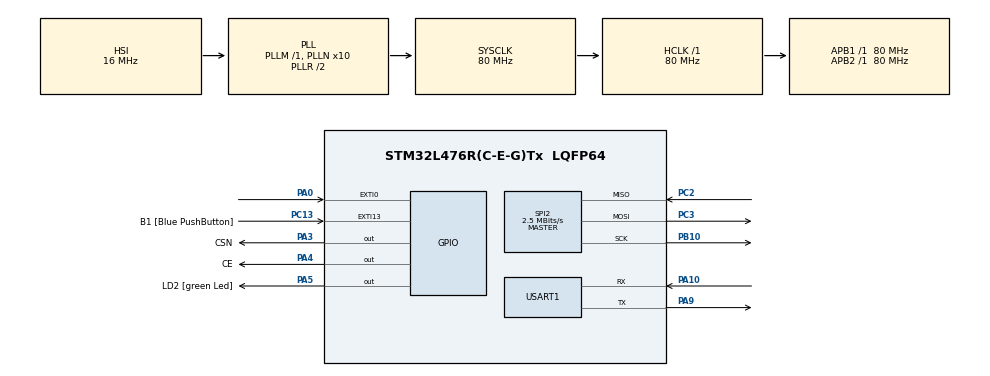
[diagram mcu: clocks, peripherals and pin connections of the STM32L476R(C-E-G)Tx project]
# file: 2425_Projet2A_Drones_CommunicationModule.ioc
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Mcu.Family=STM32L4
Mcu.Name=STM32L476R(C-E-G)Tx
Mcu.Package=LQFP64
NVIC.EXTI0_IRQn=true\:0\:0\:false\:false\:true\:true\:true\:true
NVIC.PriorityGroup=NVIC_PRIORITYGROUP_4
NVIC.SPI2_IRQn=true\:0\:0\:false\:false\:true\:true\:true\:true
NVIC.USART1_IRQn=true\:0\:0\:false\:false\:true\:true\:true\:true
PA0.GPIO_ModeDefaultEXTI=GPIO_MODE_IT_FALLING
PA0.Signal=GPXTI0
PA10.Mode=Asynchronous
PA10.Signal=USART1_RX
PA13\ (JTMS-SWDIO).GPIO_Label=TMS
PA13\ (JTMS-SWDIO).Mode=Serial_Wire
PA13\ (JTMS-SWDIO).Signal=SYS_JTMS-SWDIO
PA14\ (JTCK-SWCLK).GPIO_Label=TCK
PA14\ (JTCK-SWCLK).Mode=Serial_Wire
PA14\ (JTCK-SWCLK).Signal=SYS_JTCK-SWCLK
PA3.GPIO_Label=CSN
PA3.GPIO_Speed=GPIO_SPEED_FREQ_HIGH
PA3.Signal=GPIO_Output
PA4.GPIO_Label=CE
PA4.GPIO_Speed=GPIO_SPEED_FREQ_HIGH
PA4.Signal=GPIO_Output
PA5.GPIO_Label=LD2 [green Led]
PA5.GPIO_ModeDefaultOutputPP=GPIO_MODE_OUTPUT_PP
PA5.GPIO_PuPd=GPIO_NOPULL
PA5.GPIO_Speed=GPIO_SPEED_FREQ_LOW
PA5.Signal=GPIO_Output
PA9.Mode=Asynchronous
PA9.Signal=USART1_TX
PB10.Mode=Full_Duplex_Master
PB10.Signal=SPI2_SCK
PB3\ (JTDO-TRACESWO).GPIO_Label=SWO
PB3\ (JTDO-TRACESWO).Signal=SYS_JTDO-SWO
PC13.GPIO_Label=B1 [Blue PushButton]
PC13.GPIO_ModeDefaultEXTI=GPIO_MODE_IT_FALLING
PC13.GPIO_PuPd=GPIO_NOPULL
PC13.Signal=GPXTI13
PC14-OSC32_IN\ (PC14).Mode=LSE-External-Oscillator
PC14-OSC32_IN\ (PC14).Signal=RCC_OSC32_IN
PC15-OSC32_OUT\ (PC15).Mode=LSE-External-Oscillator
PC15-OSC32_OUT\ (PC15).Signal=RCC_OSC32_OUT
PC2.Mode=Full_Duplex_Master
PC2.Signal=SPI2_MISO
PC3.Mode=Full_Duplex_Master
PC3.Signal=SPI2_MOSI
PH0-OSC_IN\ (PH0).Signal=RCC_OSC_IN
PH1-OSC_OUT\ (PH1).Signal=RCC_OSC_OUT
ProjectManager.HeapSize=0x200
ProjectManager.StackSize=0x400
ProjectManager.TargetToolchain=STM32CubeIDE
RCC.ADCFreq_Value=64000000
RCC.AHBFreq_Value=80000000
RCC.APB1Freq_Value=80000000
RCC.APB1TimFreq_Value=80000000
RCC.APB2Freq_Value=80000000
RCC.APB2TimFreq_Value=80000000
RCC.CortexFreq_Value=80000000
RCC.HCLKFreq_Value=80000000
RCC.HSE_VALUE=8000000
RCC.HSI_VALUE=16000000
RCC.MSI_VALUE=4000000
RCC.PLLN=10
RCC.PLLSourceVirtual=RCC_PLLSOURCE_HSI
RCC.PREFETCH_ENABLE=1
RCC.SYSCLKFreq_VALUE=80000000
RCC.SYSCLKSource=RCC_SYSCLKSOURCE_PLLCLK
RCC.USBFreq_Value=64000000
RCC.VCOOutputFreq_Value=160000000
SPI2.BaudRatePrescaler=SPI_BAUDRATEPRESCALER_32
SPI2.CalculateBaudRate=2.5 MBits/s
SPI2.Direction=SPI_DIRECTION_2LINES
SPI2.Mode=SPI_MODE_MASTER
SPI2.VirtualType=VM_MASTER
USART1.VirtualMode-Asynchronous=VM_ASYNC
board=NUCLEO-L476RG

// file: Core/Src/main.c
/* USER CODE BEGIN Header */
/**
  ******************************************************************************
  * @file           : main.c
  * @brief          : Main program body
  ******************************************************************************
  * @attention
  *
  * Copyright (c) 2025 STMicroelectronics.
  * All rights reserved.
  *
  * This software is licensed under terms that can be found in the LICENSE file
  * in the root directory of this software component.
  * If no LICENSE file comes with this software, it is provided AS-IS.
  *
  ******************************************************************************
  */
/* USER CODE END Header */
#include "main.h"

/* USER CODE BEGIN Includes */
#include <strings.h>
#include "stm32l4xx_hal.h"
#include "NRF24.h"
#include "NRF24_reg_addresses.h"

#define PLD_SIZE 32

#define tx
/* USER CODE END Includes */

SPI_HandleTypeDef hspi2;

UART_HandleTypeDef huart1;

void SystemClock_Config(void);
static void MX_GPIO_Init(void);
static void MX_SPI2_Init(void);
static void MX_USART1_UART_Init(void);

/* USER CODE BEGIN 0 */
#ifdef tx
uint8_t data_T[PLD_SIZE] = {"Hellooooo !"};
uint8_t ack_T[PLD_SIZE];
#else
uint8_t data_R[PLD_SIZE];
uint8_t ack_R[PLD_SIZE] = {"Received"};
#endif
/* USER CODE END 0 */

int main(void)
{

  /* MCU Configuration--------------------------------------------------------*/

  /* Reset of all peripherals, Initializes the Flash interface and the Systick. */
  HAL_Init();

  /* Configure the system clock */
  SystemClock_Config();

  /* Initialize all configured peripherals */
  MX_GPIO_Init();
  MX_SPI2_Init();
  MX_USART1_UART_Init();
  /* USER CODE BEGIN 2 */
  csn_high();

  nrf24_init();
  nrf24_tx_pwr(_0dbm);
  nrf24_data_rate(_1mbps);
  nrf24_set_channel(78);
  nrf24_set_crc(en_crc,_1byte);
  nrf24_pipe_pld_size(0,PLD_SIZE);
  uint8_t addr[5] = {0x10, 0x21, 0x32, 0x43, 0x54};
  nrf24_open_tx_pipe(addr);
  nrf24_open_rx_pipe(0,addr);

#ifdef tx
  nrf24_stop_listen();
#else
  nrf24_listen();
#endif

  /* USER CODE END 2 */

  /* Infinite loop */
  /* USER CODE BEGIN WHILE */
  while (1)
  {
#ifdef tx
	  nrf24_transmit(data_T,sizeof(data_T));
	  HAL_GPIO_TogglePin(GPIOA,GPIO_PIN_5);

	  HAL_Delay(1000);
#else
	  nrf24_listen();

	  if(nrf24_data_available()){
		  nrf24_receive(data_R,sizeof(data_R));
	  }

	  char tmp[40];
	  sprintf(tmp,"| %s |\r\n",data_R);
	  HAL_UART_Transmit(&huart1,tmp,strlen(tmp),200);

	  HAL_Delay(1);
#endif
    /* USER CODE END WHILE */

  }
}

void SystemClock_Config(void)
{
  RCC_OscInitTypeDef RCC_OscInitStruct = {0};
  RCC_ClkInitTypeDef RCC_ClkInitStruct = {0};

  /** Configure the main internal regulator output voltage
  */
  if (HAL_PWREx_ControlVoltageScaling(PWR_REGULATOR_VOLTAGE_SCALE1) != HAL_OK)
  {
    Error_Handler();
  }

  /** Initializes the RCC Oscillators according to the specified parameters
  * in the RCC_OscInitTypeDef structure.
  */
  RCC_OscInitStruct.OscillatorType = RCC_OSCILLATORTYPE_HSI;
  RCC_OscInitStruct.HSIState = RCC_HSI_ON;
  RCC_OscInitStruct.HSICalibrationValue = RCC_HSICALIBRATION_DEFAULT;
  RCC_OscInitStruct.PLL.PLLState = RCC_PLL_ON;
  RCC_OscInitStruct.PLL.PLLSource = RCC_PLLSOURCE_HSI;
  RCC_OscInitStruct.PLL.PLLM = 1;
  RCC_OscInitStruct.PLL.PLLN = 10;
  RCC_OscInitStruct.PLL.PLLP = RCC_PLLP_DIV7;
  RCC_OscInitStruct.PLL.PLLQ = RCC_PLLQ_DIV2;
  RCC_OscInitStruct.PLL.PLLR = RCC_PLLR_DIV2;
  if (HAL_RCC_OscConfig(&RCC_OscInitStruct) != HAL_OK)
  {
    Error_Handler();
  }

  /** Initializes the CPU, AHB and APB buses clocks
  */
  RCC_ClkInitStruct.ClockType = RCC_CLOCKTYPE_HCLK|RCC_CLOCKTYPE_SYSCLK
                              |RCC_CLOCKTYPE_PCLK1|RCC_CLOCKTYPE_PCLK2;
  RCC_ClkInitStruct.SYSCLKSource = RCC_SYSCLKSOURCE_PLLCLK;
  RCC_ClkInitStruct.AHBCLKDivider = RCC_SYSCLK_DIV1;
  RCC_ClkInitStruct.APB1CLKDivider = RCC_HCLK_DIV1;
  RCC_ClkInitStruct.APB2CLKDivider = RCC_HCLK_DIV1;

  if (HAL_RCC_ClockConfig(&RCC_ClkInitStruct, FLASH_LATENCY_4) != HAL_OK)
  {
    Error_Handler();
  }
}

static void MX_SPI2_Init(void)
{

  /* SPI2 parameter configuration*/
  hspi2.Instance = SPI2;
  hspi2.Init.Mode = SPI_MODE_MASTER;
  hspi2.Init.Direction = SPI_DIRECTION_2LINES;
  hspi2.Init.DataSize = SPI_DATASIZE_4BIT;
  hspi2.Init.CLKPolarity = SPI_POLARITY_LOW;
  hspi2.Init.CLKPhase = SPI_PHASE_1EDGE;
  hspi2.Init.NSS = SPI_NSS_SOFT;
  hspi2.Init.BaudRatePrescaler = SPI_BAUDRATEPRESCALER_32;
  hspi2.Init.FirstBit = SPI_FIRSTBIT_MSB;
  hspi2.Init.TIMode = SPI_TIMODE_DISABLE;
  hspi2.Init.CRCCalculation = SPI_CRCCALCULATION_DISABLE;
  hspi2.Init.CRCPolynomial = 7;
  hspi2.Init.CRCLength = SPI_CRC_LENGTH_DATASIZE;
  hspi2.Init.NSSPMode = SPI_NSS_PULSE_ENABLE;
  if (HAL_SPI_Init(&hspi2) != HAL_OK)
  {
    Error_Handler();
  }

}

static void MX_USART1_UART_Init(void)
{

  huart1.Instance = USART1;
  huart1.Init.BaudRate = 115200;
  huart1.Init.WordLength = UART_WORDLENGTH_8B;
  huart1.Init.StopBits = UART_STOPBITS_1;
  huart1.Init.Parity = UART_PARITY_NONE;
  huart1.Init.Mode = UART_MODE_TX_RX;
  huart1.Init.HwFlowCtl = UART_HWCONTROL_NONE;
  huart1.Init.OverSampling = UART_OVERSAMPLING_16;
  huart1.Init.OneBitSampling = UART_ONE_BIT_SAMPLE_DISABLE;
  huart1.AdvancedInit.AdvFeatureInit = UART_ADVFEATURE_NO_INIT;
  if (HAL_UART_Init(&huart1) != HAL_OK)
  {
    Error_Handler();
  }

}

static void MX_GPIO_Init(void)
{
  GPIO_InitTypeDef GPIO_InitStruct = {0};

  /* GPIO Ports Clock Enable */
  __HAL_RCC_GPIOC_CLK_ENABLE();
  __HAL_RCC_GPIOH_CLK_ENABLE();
  __HAL_RCC_GPIOA_CLK_ENABLE();
  __HAL_RCC_GPIOB_CLK_ENABLE();

  /*Configure GPIO pin Output Level */
  HAL_GPIO_WritePin(GPIOA, CSN_Pin|CE_Pin|LD2_Pin, GPIO_PIN_RESET);

  /*Configure GPIO pin : B1_Pin */
  GPIO_InitStruct.Pin = B1_Pin;
  GPIO_InitStruct.Mode = GPIO_MODE_IT_FALLING;
  GPIO_InitStruct.Pull = GPIO_NOPULL;
  HAL_GPIO_Init(B1_GPIO_Port, &GPIO_InitStruct);

  /*Configure GPIO pin : PA0 */
  GPIO_InitStruct.Pin = GPIO_PIN_0;
  GPIO_InitStruct.Mode = GPIO_MODE_IT_FALLING;
  GPIO_InitStruct.Pull = GPIO_NOPULL;
  HAL_GPIO_Init(GPIOA, &GPIO_InitStruct);

  /*Configure GPIO pins : CSN_Pin CE_Pin */
  GPIO_InitStruct.Pin = CSN_Pin|CE_Pin;
  GPIO_InitStruct.Mode = GPIO_MODE_OUTPUT_PP;
  GPIO_InitStruct.Pull = GPIO_NOPULL;
  GPIO_InitStruct.Speed = GPIO_SPEED_FREQ_HIGH;
  HAL_GPIO_Init(GPIOA, &GPIO_InitStruct);

  /*Configure GPIO pin : LD2_Pin */
  GPIO_InitStruct.Pin = LD2_Pin;
  GPIO_InitStruct.Mode = GPIO_MODE_OUTPUT_PP;
  GPIO_InitStruct.Pull = GPIO_NOPULL;
  GPIO_InitStruct.Speed = GPIO_SPEED_FREQ_LOW;
  HAL_GPIO_Init(LD2_GPIO_Port, &GPIO_InitStruct);

  /* EXTI interrupt init*/
  HAL_NVIC_SetPriority(EXTI0_IRQn, 0, 0);
  HAL_NVIC_EnableIRQ(EXTI0_IRQn);

}

void Error_Handler(void)
{
  __disable_irq();
  while (1)
  {
  }
}
